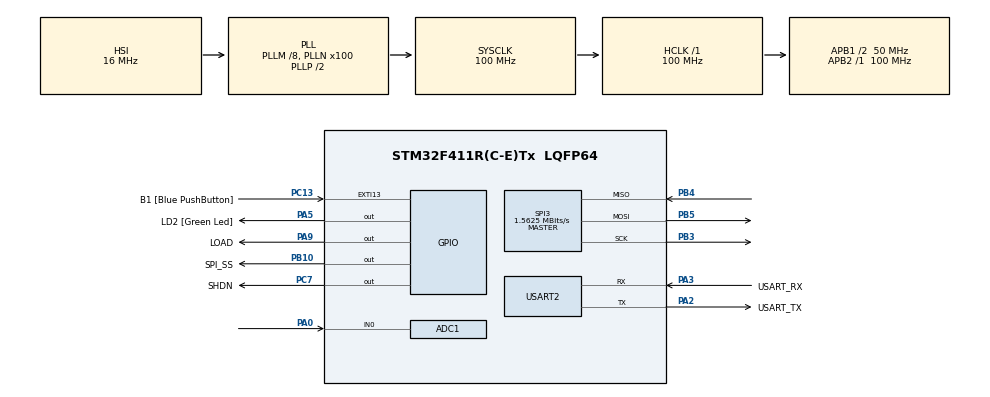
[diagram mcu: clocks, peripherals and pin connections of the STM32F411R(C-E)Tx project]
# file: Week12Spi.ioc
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Mcu.Family=STM32F4
PB10.PinState=GPIO_PIN_SET
RCC.CortexFreq_Value=100000000
SPI3.Direction=SPI_DIRECTION_2LINES
SPI3.VirtualType=VM_MASTER
ADC1.ContinuousConvMode=DISABLE
PA14.GPIO_Label=TCK
RCC.SYSCLKSource=RCC_SYSCLKSOURCE_PLLCLK
ProjectManager.StackSize=0x400
NVIC.ADC_IRQn=true\:0\:0\:false\:false\:true\:true\:true
PH0\ -\ OSC_IN.Signal=RCC_OSC_IN
RCC.HCLKFreq_Value=100000000
RCC.APB2TimFreq_Value=100000000
TIM3.Period=100
Dma.ADC1.0.Direction=DMA_PERIPH_TO_MEMORY
PC7.Signal=GPIO_Output
NVIC.DMA2_Stream0_IRQn=true\:0\:0\:false\:false\:true\:false\:true
Dma.ADC1.0.MemDataAlignment=DMA_MDATAALIGN_HALFWORD
RCC.AHBFreq_Value=100000000
SPI3.DataSize=SPI_DATASIZE_16BIT
ADC1.Channel-0\#ChannelRegularConversion=ADC_CHANNEL_0
NVIC.TIM1_TRG_COM_TIM11_IRQn=true\:0\:0\:false\:false\:true\:true\:true
RCC.HSE_VALUE=8000000
PB3.Mode=Full_Duplex_Master
ADC1.ScanConvMode=ENABLE
PC13-ANTI_TAMP.Signal=GPXTI13
PB4.Mode=Full_Duplex_Master
PC14-OSC32_IN.Mode=LSE-External-Oscillator
PA14.Mode=Serial_Wire
TIM3.Prescaler=100
Dma.ADC1.0.PeriphInc=DMA_PINC_DISABLE
PB5.Mode=Full_Duplex_Master
PC7.PinState=GPIO_PIN_SET
SH.ADCx_IN0.0=ADC1_IN0,IN0
ADC1.SamplingTime-0\#ChannelRegularConversion=ADC_SAMPLETIME_3CYCLES
RCC.FLatency-AdvancedSettings=FLASH_LATENCY_3
Mcu.Package=LQFP64
SPI3.Mode=SPI_MODE_MASTER
USART2.VirtualMode=VM_ASYNC
PA2.GPIO_Label=USART_TX
NVIC.SPI3_IRQn=true\:0\:0\:false\:false\:true\:true\:true
RCC.APB1TimFreq_Value=100000000
Dma.ADC1.0.FIFOMode=DMA_FIFOMODE_DISABLE
Dma.Request0=ADC1
ADC1.EOCSelection=ADC_EOC_SEQ_CONV
VP_TIM3_VS_ClockSourceINT.Mode=Internal
PB4.Signal=SPI3_MISO
PA3.Signal=USART2_RX
PC15-OSC32_OUT.Mode=LSE-External-Oscillator
Dma.ADC1.0.Instance=DMA2_Stream0
ADC1.Rank-0\#ChannelRegularConversion=1
PC13-ANTI_TAMP.GPIO_Label=B1 [Blue PushButton]
PA9.GPIO_Label=LOAD
PH1\ -\ OSC_OUT.Mode=HSE-External-Clock-Source
ADC1.DiscontinuousConvMode=DISABLE
TIM11.Prescaler=100
RCC.APB1CLKDivider=RCC_HCLK_DIV2
PC14-OSC32_IN.Signal=RCC_OSC32_IN
NVIC.USART2_IRQn=true\:0\:0\:false\:false\:true\:true\:true
PA0-WKUP.Signal=ADCx_IN0
VP_TIM11_VS_ClockSourceINT.Mode=Enable_Timer
PA13.Signal=SYS_JTMS-SWDIO
PA3.Mode=Asynchronous
Dma.ADC1.0.PeriphDataAlignment=DMA_PDATAALIGN_HALFWORD
PH0\ -\ OSC_IN.Mode=HSE-External-Clock-Source
ProjectManager.TargetToolchain=STM32CubeIDE
PB10.GPIO_Label=SPI_SS
Dma.ADC1.0.Mode=DMA_CIRCULAR
Dma.ADC1.0.Priority=DMA_PRIORITY_LOW
PA9.Signal=GPIO_Output
PA9.PinState=GPIO_PIN_SET
PC15-OSC32_OUT.Signal=RCC_OSC32_OUT
PB10.Signal=GPIO_Output
PA5.Signal=GPIO_Output
PH1\ -\ OSC_OUT.Signal=RCC_OSC_OUT
board=NUCLEO-F411RE
RCC.VCOOutputFreq_Value=200000000
RCC.APB2Freq_Value=100000000
SPI3.CalculateBaudRate=1.5625 MBits/s
SPI3.BaudRatePrescaler=SPI_BAUDRATEPRESCALER_32
ADC1.DMAContinuousRequests=ENABLE
PA13.Mode=Serial_Wire
Mcu.Name=STM32F411R(C-E)Tx
PA2.Signal=USART2_TX
PA13.GPIO_Label=TMS
ADC1.ExternalTrigConv=ADC_EXTERNALTRIGCONV_T3_TRGO
PC7.GPIO_Label=SHDN
RCC.48MHZClocksFreq_Value=50000000
PB3.Signal=SPI3_SCK
RCC.SYSCLKFreq_VALUE=100000000
PB5.Signal=SPI3_MOSI
ADC1.master=1
PA5.GPIO_Label=LD2 [Green Led]
PC13-ANTI_TAMP.GPIO_ModeDefaultEXTI=GPIO_MODE_IT_FALLING
PA14.Signal=SYS_JTCK-SWCLK
Dma.ADC1.0.MemInc=DMA_MINC_ENABLE
ProjectManager.HeapSize=0x200
RCC.HSI_VALUE=16000000
NVIC.PriorityGroup=NVIC_PRIORITYGROUP_0
ADC1.NbrOfConversionFlag=1
RCC.PLLM=8
RCC.PLLN=100
PA2.Mode=Asynchronous
TIM3.TIM_MasterOutputTrigger=TIM_TRGO_UPDATE
RCC.APB1Freq_Value=50000000
PA3.GPIO_Label=USART_RX

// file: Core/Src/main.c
/* USER CODE BEGIN Header */
/**
 ******************************************************************************
 * @file           : main.c
 * @brief          : Main program body
 ******************************************************************************
 * @attention
 *
 * <h2><center>&copy; Copyright (c) 2021 STMicroelectronics.
 * All rights reserved.</center></h2>
 *
 * This software component is licensed by ST under BSD 3-Clause license,
 * the "License"; You may not use this file except in compliance with the
 * License. You may obtain a copy of the License at:
 *                        opensource.org/licenses/BSD-3-Clause
 *
 ******************************************************************************
 */
/* USER CODE END Header */
#include "main.h"

/* USER CODE BEGIN Includes */
#include "math.h"
/* USER CODE END Includes */

ADC_HandleTypeDef hadc1;
DMA_HandleTypeDef hdma_adc1;

SPI_HandleTypeDef hspi3;

TIM_HandleTypeDef htim3;
TIM_HandleTypeDef htim11;

UART_HandleTypeDef huart2;

/* USER CODE BEGIN PV */
uint16_t ADCin = 0;
uint64_t _micro = 0;
int dataOut = 0;
int wave =0;
float ddada =0;
int Duty = 50;
char TxDataBuffer[32] = { 0 };
char RxDataBuffer[32] = { 0 };
char s[100]={0};
	uint8_t DACConfig = 0b0011;
	float f=1;
	float vh = 3.3;
	float vl = 0;
	float dada = 0;
	int slove=1;
	uint32_t STATE_Display = 0;
	enum _StateDisplay
	{
	  StateDisplay_Start = 0,
	  StateDisplay_MenuRoot_Print =10,
	  StateDisplay_MenuRoot_WaitInput,
	  StateDisplay_Menu1_Print =20,
	  StateDisplay_Menu1_WaitInput,
	  StateDisplay_Menu2_Print =30,
	  StateDisplay_Menu2_WaitInput,
	  StateDisplay_Menu3_Print =40,
	  StateDisplay_Menu3_WaitInput
	};
/* USER CODE END PV */

void SystemClock_Config(void);
static void MX_GPIO_Init(void);
static void MX_DMA_Init(void);
static void MX_USART2_UART_Init(void);
static void MX_SPI3_Init(void);
static void MX_ADC1_Init(void);
static void MX_TIM3_Init(void);
static void MX_TIM11_Init(void);
/* USER CODE BEGIN PFP */
void MCP4922SetOutput(uint8_t Config, uint16_t DACOutput);
uint64_t micros();
int16_t UARTRecieveIT();
/* USER CODE END PFP */

int main(void)
{

  /* MCU Configuration--------------------------------------------------------*/

  /* Reset of all peripherals, Initializes the Flash interface and the Systick. */
  HAL_Init();

  /* Configure the system clock */
  SystemClock_Config();

  /* Initialize all configured peripherals */
  MX_GPIO_Init();
  MX_DMA_Init();
  MX_USART2_UART_Init();
  MX_SPI3_Init();
  MX_ADC1_Init();
  MX_TIM3_Init();
  MX_TIM11_Init();
  /* USER CODE BEGIN 2 */
	HAL_TIM_Base_Start(&htim3);
	HAL_TIM_Base_Start_IT(&htim11);
	HAL_ADC_Start_DMA(&hadc1, (uint32_t*) &ADCin, 1);

	HAL_GPIO_WritePin(LOAD_GPIO_Port, LOAD_Pin, GPIO_PIN_RESET);
  /* USER CODE END 2 */

  /* Infinite loop */
  /* USER CODE BEGIN WHILE */
	while (1)
	{
		HAL_UART_Receive_IT(&huart2,  (uint8_t*)RxDataBuffer, 32);
		int16_t inputchar = UARTRecieveIT();
		static uint64_t timestamp = 0;
		if(wave ==1)
		{
			if (micros() - timestamp > 1000)
			{
				timestamp = micros();
				if(slove==1){
					dada = (vh-vl)*((4096*timestamp*f)/(3.3*1000000))+(vl*4096/3.3);
					dataOut = dada;
					int mod = ((vh - vl) * (4096.0 / 3.3));
					dataOut %= mod;
					dataOut += (vl * 4096.0 / 3.3);
				}
				if(slove == 0)
				{
					dada = (vh-vl)*((4096*timestamp*f)/(3.3*1000000))+((vl)*4096/3.3);
					dataOut = -dada;
					int mod = ((vl - vh) * (4096.0 / 3.3));
					dataOut %= mod;
					dataOut += ((vh) * 4096.0 / 3.3);
				}
				if (hspi3.State == HAL_SPI_STATE_READY
						&& HAL_GPIO_ReadPin(SPI_SS_GPIO_Port, SPI_SS_Pin)
								== GPIO_PIN_SET)
				{
					MCP4922SetOutput(DACConfig, dataOut);
				}
			}
		}
		else if(wave ==2)
		{
			if (micros() - timestamp > 1000)
			{
				timestamp = micros();
				dada = (((vh-vl)*2048/3.3)*sinf(2*3.14*f*timestamp/1000000))+(2048+(vl*2048/3.3)-((3.3-vh)*2048/3.3));
				dataOut = dada;
				if (hspi3.State == HAL_SPI_STATE_READY
						&& HAL_GPIO_ReadPin(SPI_SS_GPIO_Port, SPI_SS_Pin)
								== GPIO_PIN_SET)
				{
					MCP4922SetOutput(DACConfig, dataOut);
				}
			}
		}
		else if(wave==3)
		{
			if (micros() - timestamp > 1000)
			{
				int mytime = 10000*Duty*f;

				if (micros() - timestamp <mytime)
				{
					ddada=1;
					dada = vl*4096/3.3;
					dataOut = dada;
					if (hspi3.State == HAL_SPI_STATE_READY && HAL_GPIO_ReadPin(SPI_SS_GPIO_Port, SPI_SS_Pin)
										== GPIO_PIN_SET)
					{
						MCP4922SetOutput(DACConfig, dataOut);
					}
				}
				if (micros() - timestamp >mytime)
				{
					ddada =2;
					dada = vh*4096/3.3;
					dataOut = dada;
					if (hspi3.State == HAL_SPI_STATE_READY
												&& HAL_GPIO_ReadPin(SPI_SS_GPIO_Port, SPI_SS_Pin)
														== GPIO_PIN_SET)
					{
						MCP4922SetOutput(DACConfig, dataOut);
					}
				}
				if(micros() - timestamp >=1000000*f)
				{
					timestamp = micros();
				}

			}
		}
        switch(STATE_Display)
        {
        	case StateDisplay_Start:
			  STATE_Display = StateDisplay_MenuRoot_Print;
			  break;
		  case StateDisplay_MenuRoot_Print: //display one time state
		  {
			  char temp[]="------------\r\n   Menu   \r\n------------\r\n1.sawtooth\r\n2.Sin wave 2\r\n3.square wave \r\n\r\n";
			  HAL_UART_Transmit(&huart2, (uint16_t*)temp, strlen(temp),1000);
			  STATE_Display = StateDisplay_MenuRoot_WaitInput;
			  break;
		  }
		  case StateDisplay_MenuRoot_WaitInput: //wait state for input
			  switch (inputchar)
			  {
				  case -1:
					//no input ; just wait input
					break;
				  case '1':
				  {

					STATE_Display = StateDisplay_Menu1_Print;
					wave = 1;
					break;
				  }
				  case '2':
					STATE_Display = StateDisplay_Menu2_Print;
					wave = 2;
					break;
				  case '3':
					STATE_Display = StateDisplay_Menu3_Print;
					wave = 3;
					break;
				  default: // actully error , you can add error message
				  {
					char temp[]="////////////Wrong Input////////////\r\n";
					HAL_UART_Transmit(&huart2, (uint8_t*)temp, strlen(temp),1000);
					STATE_Display = StateDisplay_MenuRoot_Print;
					break;
				  }
			  }
			  break;
			  case StateDisplay_Menu1_Print: //display one time state
			  {
				  char temp[]="------------------------\r\n"
							  "            Sawtooth   \r\n"
							  "------------------------\r\n"
							  "1.increase frequency(+0.1)\r\n"
							  "2.decrease frequency(-0.1)\r\n"
							  "3.increase V high(+0.1)\r\n"
							  "4.decrease V high(-0.1)\r\n"
							  "5.increase V low(+0.1)\r\n"
							  "6.decrease V low(-0.1)\r\n"
							  "7.Slope (Up/Down)\r\n"
						      "0.Exit to main menu\r\n";
				  HAL_UART_Transmit(&huart2, (uint8_t*)temp, strlen(temp),1000);
				  STATE_Display = StateDisplay_Menu1_WaitInput;
				  break;
			  }
			  case StateDisplay_Menu1_WaitInput:
				  switch (inputchar)
				  {
					  case -1:
						//no input ; just wait input
						break;
					  case '1':
					  {
						f+=0.1;
						STATE_Display = StateDisplay_Menu1_Print;
						break;
					  }
					  case '2':
					  {
						f-=0.1;
						if(f<0)
						{
							f = 0;
						}
						STATE_Display = StateDisplay_Menu1_Print;
						break;
					  }
					  case '3':
						vh+=0.1;
						if (vh>=3.3)
							vh = 3.3;
						STATE_Display = StateDisplay_Menu1_Print;
						break;
					  case '4':
						vh-=0.1;
						if (vh<=0.1)
							vh = 0.1;
						STATE_Display = StateDisplay_Menu1_Print;
						break;
					  case '5':
						vl+=0.1;
						if (vl>=vh-0.1)
							vl = vh-0.1;
						STATE_Display = StateDisplay_Menu1_Print;
						break;
					  case '6':
						vl-=0.1;
						if (vl<=0)
							vl = 0;
						STATE_Display = StateDisplay_Menu1_Print;
						break;
					  case '7':
					  {
						if(slove==1)
						{
							slove=0;

							break;
						}
						else if(slove==0)
						{
							slove=1;

							break;
						}
					  }
					  break;
					  case '0': // back to main manu(10)
						STATE_Display = StateDisplay_MenuRoot_Print;
						break;
					  default: // actully error , you can add error message
					  {
						STATE_Display = StateDisplay_Menu1_Print;
						char temp[]="////////////Wrong Input////////////\r\n";
						HAL_UART_Transmit(&huart2, (uint8_t*)temp, strlen(temp),1000);
						break;
					  }
				  }
				  break;
				  case StateDisplay_Menu2_Print: //display one time state
				  {
					  char temp[]="------------------------\r\n"
								  "            Sin wave   \r\n"
								  "------------------------\r\n"
								  "1.increase frequency(+0.1)\r\n"
								  "2.decrease frequency(-0.1)\r\n"
								  "3.increase V high(+0.1)\r\n"
								  "4.decrease V high(-0.1)\r\n"
								  "5.increase V low(+0.1)\r\n"
								  "6.decrease V low(-0.1)\r\n"
							      "0.Exit to main menu\r\n";
					  HAL_UART_Transmit(&huart2, (uint8_t*)temp, strlen(temp),1000);
					  STATE_Display = StateDisplay_Menu2_WaitInput;
					  break;
				  }
				  case StateDisplay_Menu2_WaitInput:
					  switch (inputchar)
					  {
						  case -1:
							//no input ; just wait input
							break;
						  case '1':
						  {
							f+=0.1;
							STATE_Display = StateDisplay_Menu2_Print;
							break;
						  }
						  case '2':
						  {
							f-=0.1;
							if(f<0)
							{
								f = 0;
							}
							STATE_Display = StateDisplay_Menu2_Print;
							break;
						  }
						  case '3':
							vh+=0.1;
							if (vh>=3.3)
								vh = 3.3;
							STATE_Display = StateDisplay_Menu2_Print;
							break;
						  case '4':
							vh-=0.1;
							if (vh<=0.1)
								vh = 0.1;
							STATE_Display = StateDisplay_Menu2_Print;
							break;
						  case '5':
							vl+=0.1;
							if (vl>=vh-0.1)
								vl = vh-0.1;
							STATE_Display = StateDisplay_Menu2_Print;
							break;
						  case '6':
							vl-=0.1;
							if (vl<=0)
								vl = 0;
							STATE_Display = StateDisplay_Menu2_Print;
							break;
						  case '0': // back to main manu(10)
							STATE_Display = StateDisplay_MenuRoot_Print;
							break;
						  default: // actully error , you can add error message
						  {
							STATE_Display = StateDisplay_Menu2_Print;
							char temp[]="////////////Wrong Input////////////\r\n";
							HAL_UART_Transmit(&huart2, (uint8_t*)temp, strlen(temp),1000);
							break;
						  }
					  }
					  break;
					  case StateDisplay_Menu3_Print: //display one time state
					  {
						  char temp[]="------------------------\r\n"
									  "            Square wave   \r\n"
									  "------------------------\r\n"
									  "1.increase frequency(+0.1)\r\n"
									  "2.decrease frequency(-0.1)\r\n"
									  "3.increase V high(+0.1)\r\n"
									  "4.decrease V high(-0.1)\r\n"
									  "5.increase V low(+0.1)\r\n"
									  "6.decrease V low(-0.1)\r\n"
								      "7.duty cycle(+5)\r\n"
								      "8.duty cycle(-5)\r\n"
									  "0.Exit to main menu\r\n";
						  HAL_UART_Transmit(&huart2, (uint8_t*)temp, strlen(temp),1000);
						  STATE_Display = StateDisplay_Menu3_WaitInput;
						  break;
					  }
					  case StateDisplay_Menu3_WaitInput:
						  switch (inputchar)
						  {
							  case -1:
								//no input ; just wait input
								break;
							  case '1':
							  {
								f+=0.1;
								STATE_Display = StateDisplay_Menu3_Print;
								break;
							  }
							  case '2':
							  {
								f-=0.1;
								if(f<0)
								{
									f = 0;
								}
								STATE_Display = StateDisplay_Menu3_Print;
								break;
							  }
							  case '3':
								vh+=0.1;
								if (vh>=3.3)
									vh = 3.3;
								STATE_Display = StateDisplay_Menu3_Print;
								break;
							  case '4':
								vh-=0.1;
								if (vh<=0.1)
									vh = 0.1;
								STATE_Display = StateDisplay_Menu3_Print;
								break;
							  case '5':
								vl+=0.1;
								if (vl>=vh-0.1)
									vl = vh-0.1;
								STATE_Display = StateDisplay_Menu3_Print;
								break;
							  case '6':
								vl-=0.1;
								if (vl<=0)
									vl = 0;
								STATE_Display = StateDisplay_Menu3_Print;
								break;
							  case '7':
								Duty+=5;
								if (Duty>=100)
									Duty = 100;
								STATE_Display = StateDisplay_Menu3_Print;
								break;
							  case '8':
								Duty-=5;
								if (Duty<=0)
									Duty = 0;
								STATE_Display = StateDisplay_Menu3_Print;
								break;
							  case '0': // back to main manu(10)
								STATE_Display = StateDisplay_MenuRoot_Print;
								break;
							  default: // actully error , you can add error message
							  {
								STATE_Display = StateDisplay_Menu3_Print;
								char temp[]="////////////Wrong Input////////////\r\n";
								HAL_UART_Transmit(&huart2, (uint8_t*)temp, strlen(temp),1000);
								break;
							  }
						  }
						  break;
        }
    /* USER CODE END WHILE */

	}
}

void SystemClock_Config(void)
{
  RCC_OscInitTypeDef RCC_OscInitStruct = {0};
  RCC_ClkInitTypeDef RCC_ClkInitStruct = {0};

  /** Configure the main internal regulator output voltage
  */
  __HAL_RCC_PWR_CLK_ENABLE();
  __HAL_PWR_VOLTAGESCALING_CONFIG(PWR_REGULATOR_VOLTAGE_SCALE1);
  /** Initializes the RCC Oscillators according to the specified parameters
  * in the RCC_OscInitTypeDef structure.
  */
  RCC_OscInitStruct.OscillatorType = RCC_OSCILLATORTYPE_HSI;
  RCC_OscInitStruct.HSIState = RCC_HSI_ON;
  RCC_OscInitStruct.HSICalibrationValue = RCC_HSICALIBRATION_DEFAULT;
  RCC_OscInitStruct.PLL.PLLState = RCC_PLL_ON;
  RCC_OscInitStruct.PLL.PLLSource = RCC_PLLSOURCE_HSI;
  RCC_OscInitStruct.PLL.PLLM = 8;
  RCC_OscInitStruct.PLL.PLLN = 100;
  RCC_OscInitStruct.PLL.PLLP = RCC_PLLP_DIV2;
  RCC_OscInitStruct.PLL.PLLQ = 4;
  if (HAL_RCC_OscConfig(&RCC_OscInitStruct) != HAL_OK)
  {
    Error_Handler();
  }
  /** Initializes the CPU, AHB and APB buses clocks
  */
  RCC_ClkInitStruct.ClockType = RCC_CLOCKTYPE_HCLK|RCC_CLOCKTYPE_SYSCLK
                              |RCC_CLOCKTYPE_PCLK1|RCC_CLOCKTYPE_PCLK2;
  RCC_ClkInitStruct.SYSCLKSource = RCC_SYSCLKSOURCE_PLLCLK;
  RCC_ClkInitStruct.AHBCLKDivider = RCC_SYSCLK_DIV1;
  RCC_ClkInitStruct.APB1CLKDivider = RCC_HCLK_DIV2;
  RCC_ClkInitStruct.APB2CLKDivider = RCC_HCLK_DIV1;

  if (HAL_RCC_ClockConfig(&RCC_ClkInitStruct, FLASH_LATENCY_3) != HAL_OK)
  {
    Error_Handler();
  }
}

static void MX_ADC1_Init(void)
{

  ADC_ChannelConfTypeDef sConfig = {0};

  /** Configure the global features of the ADC (Clock, Resolution, Data Alignment and number of conversion)
  */
  hadc1.Instance = ADC1;
  hadc1.Init.ClockPrescaler = ADC_CLOCK_SYNC_PCLK_DIV4;
  hadc1.Init.Resolution = ADC_RESOLUTION_12B;
  hadc1.Init.ScanConvMode = ENABLE;
  hadc1.Init.ContinuousConvMode = DISABLE;
  hadc1.Init.DiscontinuousConvMode = DISABLE;
  hadc1.Init.ExternalTrigConvEdge = ADC_EXTERNALTRIGCONVEDGE_RISING;
  hadc1.Init.ExternalTrigConv = ADC_EXTERNALTRIGCONV_T3_TRGO;
  hadc1.Init.DataAlign = ADC_DATAALIGN_RIGHT;
  hadc1.Init.NbrOfConversion = 1;
  hadc1.Init.DMAContinuousRequests = ENABLE;
  hadc1.Init.EOCSelection = ADC_EOC_SEQ_CONV;
  if (HAL_ADC_Init(&hadc1) != HAL_OK)
  {
    Error_Handler();
  }
  /** Configure for the selected ADC regular channel its corresponding rank in the sequencer and its sample time.
  */
  sConfig.Channel = ADC_CHANNEL_0;
  sConfig.Rank = 1;
  sConfig.SamplingTime = ADC_SAMPLETIME_3CYCLES;
  if (HAL_ADC_ConfigChannel(&hadc1, &sConfig) != HAL_OK)
  {
    Error_Handler();
  }

}

static void MX_SPI3_Init(void)
{

  /* SPI3 parameter configuration*/
  hspi3.Instance = SPI3;
  hspi3.Init.Mode = SPI_MODE_MASTER;
  hspi3.Init.Direction = SPI_DIRECTION_2LINES;
  hspi3.Init.DataSize = SPI_DATASIZE_16BIT;
  hspi3.Init.CLKPolarity = SPI_POLARITY_LOW;
  hspi3.Init.CLKPhase = SPI_PHASE_1EDGE;
  hspi3.Init.NSS = SPI_NSS_SOFT;
  hspi3.Init.BaudRatePrescaler = SPI_BAUDRATEPRESCALER_32;
  hspi3.Init.FirstBit = SPI_FIRSTBIT_MSB;
  hspi3.Init.TIMode = SPI_TIMODE_DISABLE;
  hspi3.Init.CRCCalculation = SPI_CRCCALCULATION_DISABLE;
  hspi3.Init.CRCPolynomial = 10;
  if (HAL_SPI_Init(&hspi3) != HAL_OK)
  {
    Error_Handler();
  }

}

static void MX_TIM3_Init(void)
{

  TIM_ClockConfigTypeDef sClockSourceConfig = {0};
  TIM_MasterConfigTypeDef sMasterConfig = {0};

  htim3.Instance = TIM3;
  htim3.Init.Prescaler = 100;
  htim3.Init.CounterMode = TIM_COUNTERMODE_UP;
  htim3.Init.Period = 100;
  htim3.Init.ClockDivision = TIM_CLOCKDIVISION_DIV1;
  htim3.Init.AutoReloadPreload = TIM_AUTORELOAD_PRELOAD_DISABLE;
  if (HAL_TIM_Base_Init(&htim3) != HAL_OK)
  {
    Error_Handler();
  }
  sClockSourceConfig.ClockSource = TIM_CLOCKSOURCE_INTERNAL;
  if (HAL_TIM_ConfigClockSource(&htim3, &sClockSourceConfig) != HAL_OK)
  {
    Error_Handler();
  }
  sMasterConfig.MasterOutputTrigger = TIM_TRGO_UPDATE;
  sMasterConfig.MasterSlaveMode = TIM_MASTERSLAVEMODE_DISABLE;
  if (HAL_TIMEx_MasterConfigSynchronization(&htim3, &sMasterConfig) != HAL_OK)
  {
    Error_Handler();
  }

}

static void MX_TIM11_Init(void)
{

  htim11.Instance = TIM11;
  htim11.Init.Prescaler = 100;
  htim11.Init.CounterMode = TIM_COUNTERMODE_UP;
  htim11.Init.Period = 65535;
  htim11.Init.ClockDivision = TIM_CLOCKDIVISION_DIV1;
  htim11.Init.AutoReloadPreload = TIM_AUTORELOAD_PRELOAD_DISABLE;
  if (HAL_TIM_Base_Init(&htim11) != HAL_OK)
  {
    Error_Handler();
  }

}

static void MX_USART2_UART_Init(void)
{

  huart2.Instance = USART2;
  huart2.Init.BaudRate = 115200;
  huart2.Init.WordLength = UART_WORDLENGTH_8B;
  huart2.Init.StopBits = UART_STOPBITS_1;
  huart2.Init.Parity = UART_PARITY_NONE;
  huart2.Init.Mode = UART_MODE_TX_RX;
  huart2.Init.HwFlowCtl = UART_HWCONTROL_NONE;
  huart2.Init.OverSampling = UART_OVERSAMPLING_16;
  if (HAL_UART_Init(&huart2) != HAL_OK)
  {
    Error_Handler();
  }

}

static void MX_DMA_Init(void)
{

  /* DMA controller clock enable */
  __HAL_RCC_DMA2_CLK_ENABLE();

  /* DMA interrupt init */
  /* DMA2_Stream0_IRQn interrupt configuration */
  HAL_NVIC_SetPriority(DMA2_Stream0_IRQn, 0, 0);
  HAL_NVIC_EnableIRQ(DMA2_Stream0_IRQn);

}

static void MX_GPIO_Init(void)
{
  GPIO_InitTypeDef GPIO_InitStruct = {0};

  /* GPIO Ports Clock Enable */
  __HAL_RCC_GPIOC_CLK_ENABLE();
  __HAL_RCC_GPIOH_CLK_ENABLE();
  __HAL_RCC_GPIOA_CLK_ENABLE();
  __HAL_RCC_GPIOB_CLK_ENABLE();

  /*Configure GPIO pin Output Level */
  HAL_GPIO_WritePin(LD2_GPIO_Port, LD2_Pin, GPIO_PIN_RESET);

  /*Configure GPIO pin Output Level */
  HAL_GPIO_WritePin(SPI_SS_GPIO_Port, SPI_SS_Pin, GPIO_PIN_SET);

  /*Configure GPIO pin Output Level */
  HAL_GPIO_WritePin(SHDN_GPIO_Port, SHDN_Pin, GPIO_PIN_SET);

  /*Configure GPIO pin Output Level */
  HAL_GPIO_WritePin(LOAD_GPIO_Port, LOAD_Pin, GPIO_PIN_SET);

  /*Configure GPIO pin : B1_Pin */
  GPIO_InitStruct.Pin = B1_Pin;
  GPIO_InitStruct.Mode = GPIO_MODE_IT_FALLING;
  GPIO_InitStruct.Pull = GPIO_NOPULL;
  HAL_GPIO_Init(B1_GPIO_Port, &GPIO_InitStruct);

  /*Configure GPIO pins : LD2_Pin LOAD_Pin */
  GPIO_InitStruct.Pin = LD2_Pin|LOAD_Pin;
  GPIO_InitStruct.Mode = GPIO_MODE_OUTPUT_PP;
  GPIO_InitStruct.Pull = GPIO_NOPULL;
  GPIO_InitStruct.Speed = GPIO_SPEED_FREQ_LOW;
  HAL_GPIO_Init(GPIOA, &GPIO_InitStruct);

  /*Configure GPIO pin : SPI_SS_Pin */
  GPIO_InitStruct.Pin = SPI_SS_Pin;
  GPIO_InitStruct.Mode = GPIO_MODE_OUTPUT_PP;
  GPIO_InitStruct.Pull = GPIO_NOPULL;
  GPIO_InitStruct.Speed = GPIO_SPEED_FREQ_LOW;
  HAL_GPIO_Init(SPI_SS_GPIO_Port, &GPIO_InitStruct);

  /*Configure GPIO pin : SHDN_Pin */
  GPIO_InitStruct.Pin = SHDN_Pin;
  GPIO_InitStruct.Mode = GPIO_MODE_OUTPUT_PP;
  GPIO_InitStruct.Pull = GPIO_NOPULL;
  GPIO_InitStruct.Speed = GPIO_SPEED_FREQ_LOW;
  HAL_GPIO_Init(SHDN_GPIO_Port, &GPIO_InitStruct);

}

/* USER CODE BEGIN 4 */
void MCP4922SetOutput(uint8_t Config, uint16_t DACOutput)
{
	uint32_t OutputPacket = (DACOutput & 0x0fff) | ((Config & 0xf) << 12);
	HAL_GPIO_WritePin(SPI_SS_GPIO_Port, SPI_SS_Pin, GPIO_PIN_RESET);
	HAL_SPI_Transmit_IT(&hspi3, &OutputPacket, 1);
}

void HAL_SPI_TxCpltCallback(SPI_HandleTypeDef *hspi)
{
	if (hspi == &hspi3)
	{
		HAL_GPIO_WritePin(SPI_SS_GPIO_Port, SPI_SS_Pin, GPIO_PIN_SET);
	}
}
int16_t UARTRecieveIT()
{
	static uint32_t dataPos =0;
	int16_t data=-1;
	if(huart2.RxXferSize - huart2.RxXferCount!=dataPos)
	{
		data=RxDataBuffer[dataPos];
		dataPos= (dataPos+1)%huart2.RxXferSize;
	}
	return data;
}

void HAL_UART_RxCpltCallback(UART_HandleTypeDef *huart)
{
	sprintf(TxDataBuffer, "Received:[%s]\r\n", RxDataBuffer);
	HAL_UART_Transmit(&huart2, (uint8_t*)TxDataBuffer, strlen(TxDataBuffer), 1000);
}
void HAL_TIM_PeriodElapsedCallback(TIM_HandleTypeDef *htim)
{
	if (htim == &htim11)
	{
		_micro += 65535;
	}
}

inline uint64_t micros()
{
	return htim11.Instance->CNT + _micro;
}
/* USER CODE END 4 */

void Error_Handler(void)
{
	__disable_irq();
	while (1)
	{
	}
}

/************************ (C) COPYRIGHT STMicroelectronics *****END OF FILE****/
